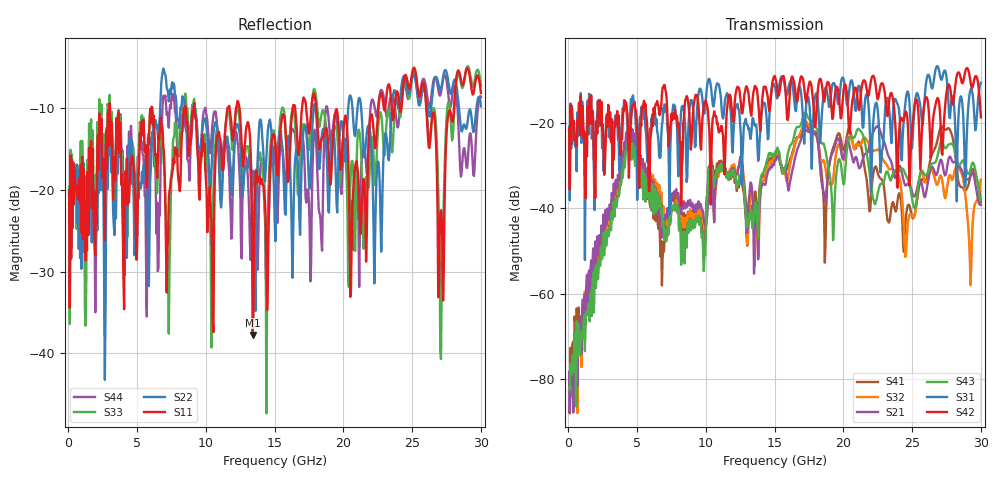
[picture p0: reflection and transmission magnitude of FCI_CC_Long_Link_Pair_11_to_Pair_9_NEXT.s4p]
! FCI USA LLC
! FCI_CC_Long_Link_Pair_11_to_Pair_9_NEXT.s4p
! PART DESCRIPTION: FCI Connector Concept 0.70 m Simulated Channel Model
! FREQUENCY RANGE: 50 MHz to 30 GHz in 50 MHz frequency steps
! PORT DEFINITIONS:
! Port  1  ----->  TX  Pin G5(Side B) -- Pin A5(Side B)  RX  <-----  Port  2
! Port  3  ----->  TX  Pin H5(Side B) -- Pin B5(Side B)  RX  <-----  Port  4
! Information
! FCI endeavors to use its reasonable efforts to place accurate and
! up-to-date information in this Touchstone file.  However, this file is
! provided on an as is basis.  FCI GIVES NO WARRANTY, EXPRESS OR
! IMPLIED, WITH RESPECT TO ANY INFORMATION PROVIDED IN THIS FILE,
! INCLUDING BUT NOT LIMITED TO THE IMPLIED WARRANTIES OF
! MERCHANTABILITY, FITNESS FOR A PARTICULAR PURPOSE OR NON-INFRINGEMENT.
! FCI SHALL NOT BE LIABLE FOR ANY DIRECT, SPECIAL, INDIRECT,
! CONSEQUENTIAL, PUNITIVE OR OTHER DAMAGES BASED ON USE OF THIS FILE.
#	Hz	S	RI	R	50
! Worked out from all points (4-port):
!   600 points, 50 MHz to 30 GHz, reference 50 ohm
!   strongest paths, dB at 50 MHz, 7.55 GHz, 15.05 GHz, 22.55 GHz, 30 GHz:
!     S42: -21.4, -19.4, -9.5, -14.1, -18.7
!     S31: -20.9, -17.8, -12.0, -19.1, -10.7
!     S43: -82.5, -40.5, -26.7, -35.7, -37.8
!     S21: -78.3, -37.4, -28.7, -21.0, -39.2
!     S32: -82.9, -40.7, -27.8, -26.3, -33.3
!     S41: -87.2, -37.8, -27.6, -32.3, -38.6
!   lowest |S11| = -37.7 dB at 13.4 GHz (marker M1), VSWR 1.03, Z = 48.7 - j0.154 ohm
!   |S11| at or under -10 dB: 3.012 GHz to 6.046 GHz (3.035 GHz wide, 67 % of centre); 12.44 GHz to 16.32 GHz (3.877 GHz wide, 27 % of centre); 18.03 GHz to 22.55 GHz (4.521 GHz wide, 22.3 % of centre)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
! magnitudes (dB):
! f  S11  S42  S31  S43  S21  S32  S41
! 50 MHz  -20.1  -21.4  -20.9  -82.5  -78.3  -82.9  -87.2
! 4.4 GHz  -21.6  -32.9  -22.6  -24.4  -20.6  -21.5  -23.6
! 13.4 GHz  -37.7  -14.4  -18.9  -44.7  -38.0  -36.9  -42.5
! 17.25 GHz  -9.4  -14.6  -17.8  -17.6  -21.7  -19.7  -20.1
! 24.4 GHz  -6.6  -19.2  -19.1  -31.2  -33.8  -44.5  -50.2
! 27.1 GHz  -22.5  -22.6  -9.9  -24.5  -28.6  -32.4  -20.9
! 30 GHz  -8.2  -18.7  -10.7  -37.8  -39.2  -33.3  -38.6
